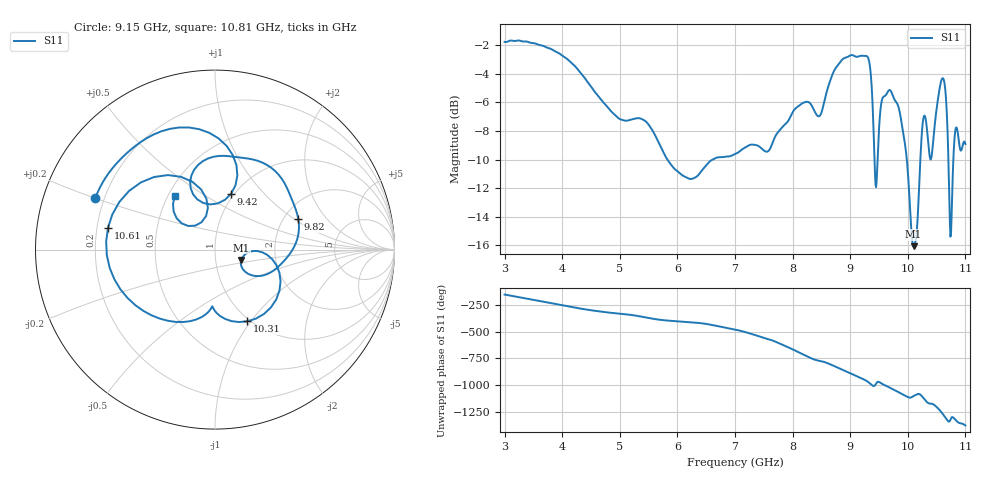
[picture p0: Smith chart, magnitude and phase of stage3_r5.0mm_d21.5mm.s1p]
# GHz S DB R 50
! openEMS Stage 3 Simulation: r5.0mm_d21.5mm
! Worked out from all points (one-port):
!   801 points, 3 GHz to 11 GHz, reference 50 ohm
!   lowest |S11| = -16.1 dB at 10.1 GHz (marker M1), VSWR 1.37, Z = 66.6 - j7.84 ohm
!   |S11| at or under -10 dB: 5.825 GHz to 6.614 GHz (788.7 MHz wide, 12.7 % of centre); 9.983 GHz to 10.22 GHz (235.2 MHz wide, 2.33 % of centre); 10.7 GHz to 10.79 GHz (86.2 MHz wide, 0.802 % of centre)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
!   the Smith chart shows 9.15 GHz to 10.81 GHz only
!   S11 on the Smith chart (normalised r, x): 9.15 GHz: 0.17, +0.20; 9.42 GHz: 0.97, +0.68; 9.82 GHz: 2.39, +1.08; 10.31 GHz: 0.97, -0.96; 10.61 GHz: 0.25, +0.09; 10.81 GHz: 0.54, +0.38
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3  -1.77 -152.1
3.45  -1.83 162.0
4  -2.73 107.2
4.45  -4.63 65.1
5  -7.17 28.5
6  -10.82 -42.9
7  -9.62 -119.5
7.63  -9.06 142.2
8  -6.70 55.9
8.25  -5.96 -9.8
8.69  -4.07 -93.2
9  -2.72 -167.9
9.15  -2.78 156.7
9.32  -2.99 106.3
9.42  -9.75 73.8
9.51  -7.26 107.7
9.63  -5.43 72.4
9.82  -6.12 20.1
10  -10.82 -30.8
10.1  -16.06 -21.4
10.2  -11.61 -3.2
10.31  -7.16 -65.7
10.51  -6.16 -128.6
10.61  -4.31 168.5
10.67  -6.18 122.3
10.74  -15.40 116.3
10.81  -8.57 127.0
11  -8.91 63.4
